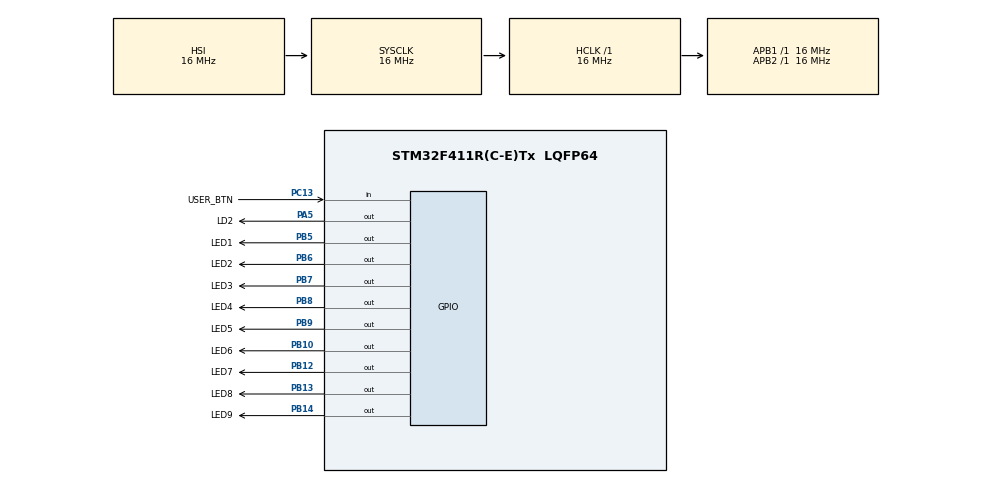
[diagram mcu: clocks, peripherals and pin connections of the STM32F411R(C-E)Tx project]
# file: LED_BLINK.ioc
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Mcu.Family=STM32F4
Mcu.Name=STM32F411R(C-E)Tx
Mcu.Package=LQFP64
NVIC.PriorityGroup=NVIC_PRIORITYGROUP_4
PA5.GPIO_Label=LD2
PA5.Signal=GPIO_Output
PB10.GPIO_Label=LED6
PB10.Signal=GPIO_Output
PB12.GPIO_Label=LED7
PB12.Signal=GPIO_Output
PB13.GPIO_Label=LED8
PB13.Signal=GPIO_Output
PB14.GPIO_Label=LED9
PB14.Signal=GPIO_Output
PB5.GPIO_Label=LED1
PB5.Signal=GPIO_Output
PB6.GPIO_Label=LED2
PB6.Signal=GPIO_Output
PB7.GPIO_Label=LED3
PB7.Signal=GPIO_Output
PB8.GPIO_Label=LED4
PB8.Signal=GPIO_Output
PB9.GPIO_Label=LED5
PB9.Signal=GPIO_Output
PC13-ANTI_TAMP.GPIO_Label=USER_BTN
PC13-ANTI_TAMP.Signal=GPIO_Input
ProjectManager.HeapSize=0x200
ProjectManager.StackSize=0x400
ProjectManager.TargetToolchain=STM32CubeIDE
RCC.AHBFreq_Value=16000000
RCC.APB1Freq_Value=16000000
RCC.APB2Freq_Value=16000000
RCC.CortexFreq_Value=16000000
RCC.HSE_VALUE=25000000
RCC.HSI_VALUE=16000000
RCC.LSE_VALUE=32768
RCC.SYSCLKFreq_VALUE=16000000
RCC.VCOOutputFreq_Value=192000000
board=custom

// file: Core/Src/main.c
/* USER CODE BEGIN Header */
/**
  ******************************************************************************
  * @file           : main.c
  * @brief          : Main program body
  ******************************************************************************
  * @attention
  *
  * Copyright (c) 2024 STMicroelectronics.
  * All rights reserved.
  *
  * This software is licensed under terms that can be found in the LICENSE file
  * in the root directory of this software component.
  * If no LICENSE file comes with this software, it is provided AS-IS.
  *
  ******************************************************************************
  */
/* USER CODE END Header */
#include "main.h"

/* USER CODE BEGIN Includes */
#include <stdbool.h>
/* USER CODE END Includes */

void SystemClock_Config(void);
static void MX_GPIO_Init(void);

/* USER CODE BEGIN 0 */
void Ver1(){
	for(int i = 0; i < 9; i++){
			  if(i >= 6){ // Can't use pin PB11
				  HAL_GPIO_WritePin(LED1_GPIO_Port, LED1_Pin << (i+1), GPIO_PIN_SET);
				  HAL_Delay(100);
				  HAL_GPIO_WritePin(LED1_GPIO_Port, LED1_Pin << (i+1), GPIO_PIN_RESET);
			  } else {
				  HAL_GPIO_WritePin(LED1_GPIO_Port, LED1_Pin << i, GPIO_PIN_SET);
				  HAL_Delay(100);
				  HAL_GPIO_WritePin(LED1_GPIO_Port, LED1_Pin << i, GPIO_PIN_RESET);
			  }
		  }
}

//VER 2
void led_set(int led, bool turn_on){
	GPIO_PinState state;

	if(turn_on){
		state = GPIO_PIN_SET;
	} else {
		state = GPIO_PIN_RESET;
	}

	if (led >= 0 && led < 10){
		HAL_GPIO_WritePin(LED1_GPIO_Port, LED1_Pin << led, state);
	}
}

// VER 3
typedef struct{
	GPIO_TypeDef* port;
	uint16_t pin;
}pin_t;

static const pin_t LED[] = {
		{LED1_GPIO_Port, LED1_Pin},
		{LED2_GPIO_Port, LED2_Pin},
		{LED3_GPIO_Port, LED3_Pin},
		{LED4_GPIO_Port, LED4_Pin},
		{LED5_GPIO_Port, LED5_Pin},
		{LED6_GPIO_Port, LED6_Pin},
		{LED7_GPIO_Port, LED7_Pin},
		{LED8_GPIO_Port, LED8_Pin},
		{LED9_GPIO_Port, LED9_Pin},
};

void led_set_Ver3(int led, bool turn_on){
	GPIO_PinState state= (turn_on) ? GPIO_PIN_SET : GPIO_PIN_RESET;

	if (led >= 0 && led < 9){
		HAL_GPIO_WritePin(LED[led].port, LED[led].pin, state);
	}
}
/* USER CODE END 0 */

int main(void)
{

  /* MCU Configuration--------------------------------------------------------*/

  /* Reset of all peripherals, Initializes the Flash interface and the Systick. */
  HAL_Init();

  /* Configure the system clock */
  SystemClock_Config();

  /* Initialize all configured peripherals */
  MX_GPIO_Init();

  /* Infinite loop */
  /* USER CODE BEGIN WHILE */
  while (1)
  {

	  // Ver 1
	  //Ver1();

	  //Ver 3
	  for (int i = 0;  i < 9; i++) {
		led_set_Ver3(i, true);
		HAL_Delay(100);
		led_set_Ver3(i, false);
	  }

//	  // Dioda włączona na 200ms
//	  HAL_GPIO_WritePin(LED1_GPIO_Port, LED1_Pin, GPIO_PIN_SET);
//	  HAL_Delay(200);
//
//	  // Doioda wyłączona na 800ms
//	  HAL_GPIO_WritePin(LED1_GPIO_Port, LED1_Pin, GPIO_PIN_RESET);
//	  HAL_Delay(800);
//	  if(HAL_GPIO_ReadPin(USER_BTN_GPIO_Port, USER_BTN_Pin) == GPIO_PIN_RESET){
//		  HAL_GPIO_WritePin(LD2_GPIO_Port, LD2_Pin, GPIO_PIN_SET);
//	  } else {
//		  HAL_GPIO_WritePin(LD2_GPIO_Port, LD2_Pin, GPIO_PIN_RESET);
//	  }
    /* USER CODE END WHILE */

  }
}

void SystemClock_Config(void)
{
  RCC_OscInitTypeDef RCC_OscInitStruct = {0};
  RCC_ClkInitTypeDef RCC_ClkInitStruct = {0};

  /** Configure the main internal regulator output voltage
  */
  __HAL_RCC_PWR_CLK_ENABLE();
  __HAL_PWR_VOLTAGESCALING_CONFIG(PWR_REGULATOR_VOLTAGE_SCALE1);

  /** Initializes the RCC Oscillators according to the specified parameters
  * in the RCC_OscInitTypeDef structure.
  */
  RCC_OscInitStruct.OscillatorType = RCC_OSCILLATORTYPE_HSI;
  RCC_OscInitStruct.HSIState = RCC_HSI_ON;
  RCC_OscInitStruct.HSICalibrationValue = RCC_HSICALIBRATION_DEFAULT;
  RCC_OscInitStruct.PLL.PLLState = RCC_PLL_NONE;
  if (HAL_RCC_OscConfig(&RCC_OscInitStruct) != HAL_OK)
  {
    Error_Handler();
  }

  /** Initializes the CPU, AHB and APB buses clocks
  */
  RCC_ClkInitStruct.ClockType = RCC_CLOCKTYPE_HCLK|RCC_CLOCKTYPE_SYSCLK
                              |RCC_CLOCKTYPE_PCLK1|RCC_CLOCKTYPE_PCLK2;
  RCC_ClkInitStruct.SYSCLKSource = RCC_SYSCLKSOURCE_HSI;
  RCC_ClkInitStruct.AHBCLKDivider = RCC_SYSCLK_DIV1;
  RCC_ClkInitStruct.APB1CLKDivider = RCC_HCLK_DIV1;
  RCC_ClkInitStruct.APB2CLKDivider = RCC_HCLK_DIV1;

  if (HAL_RCC_ClockConfig(&RCC_ClkInitStruct, FLASH_LATENCY_0) != HAL_OK)
  {
    Error_Handler();
  }
}

static void MX_GPIO_Init(void)
{
  GPIO_InitTypeDef GPIO_InitStruct = {0};

  /* GPIO Ports Clock Enable */
  __HAL_RCC_GPIOC_CLK_ENABLE();
  __HAL_RCC_GPIOA_CLK_ENABLE();
  __HAL_RCC_GPIOB_CLK_ENABLE();

  /*Configure GPIO pin Output Level */
  HAL_GPIO_WritePin(LD2_GPIO_Port, LD2_Pin, GPIO_PIN_RESET);

  /*Configure GPIO pin Output Level */
  HAL_GPIO_WritePin(GPIOB, LED6_Pin|LED7_Pin|LED8_Pin|LED9_Pin
                          |LED1_Pin|LED2_Pin|LED3_Pin|LED4_Pin
                          |LED5_Pin, GPIO_PIN_RESET);

  /*Configure GPIO pin : USER_BTN_Pin */
  GPIO_InitStruct.Pin = USER_BTN_Pin;
  GPIO_InitStruct.Mode = GPIO_MODE_INPUT;
  GPIO_InitStruct.Pull = GPIO_NOPULL;
  HAL_GPIO_Init(USER_BTN_GPIO_Port, &GPIO_InitStruct);

  /*Configure GPIO pin : LD2_Pin */
  GPIO_InitStruct.Pin = LD2_Pin;
  GPIO_InitStruct.Mode = GPIO_MODE_OUTPUT_PP;
  GPIO_InitStruct.Pull = GPIO_NOPULL;
  GPIO_InitStruct.Speed = GPIO_SPEED_FREQ_LOW;
  HAL_GPIO_Init(LD2_GPIO_Port, &GPIO_InitStruct);

  /*Configure GPIO pins : LED6_Pin LED7_Pin LED8_Pin LED9_Pin
                           LED1_Pin LED2_Pin LED3_Pin LED4_Pin
                           LED5_Pin */
  GPIO_InitStruct.Pin = LED6_Pin|LED7_Pin|LED8_Pin|LED9_Pin
                          |LED1_Pin|LED2_Pin|LED3_Pin|LED4_Pin
                          |LED5_Pin;
  GPIO_InitStruct.Mode = GPIO_MODE_OUTPUT_PP;
  GPIO_InitStruct.Pull = GPIO_NOPULL;
  GPIO_InitStruct.Speed = GPIO_SPEED_FREQ_LOW;
  HAL_GPIO_Init(GPIOB, &GPIO_InitStruct);

}

void Error_Handler(void)
{
  __disable_irq();
  while (1)
  {
  }
}
